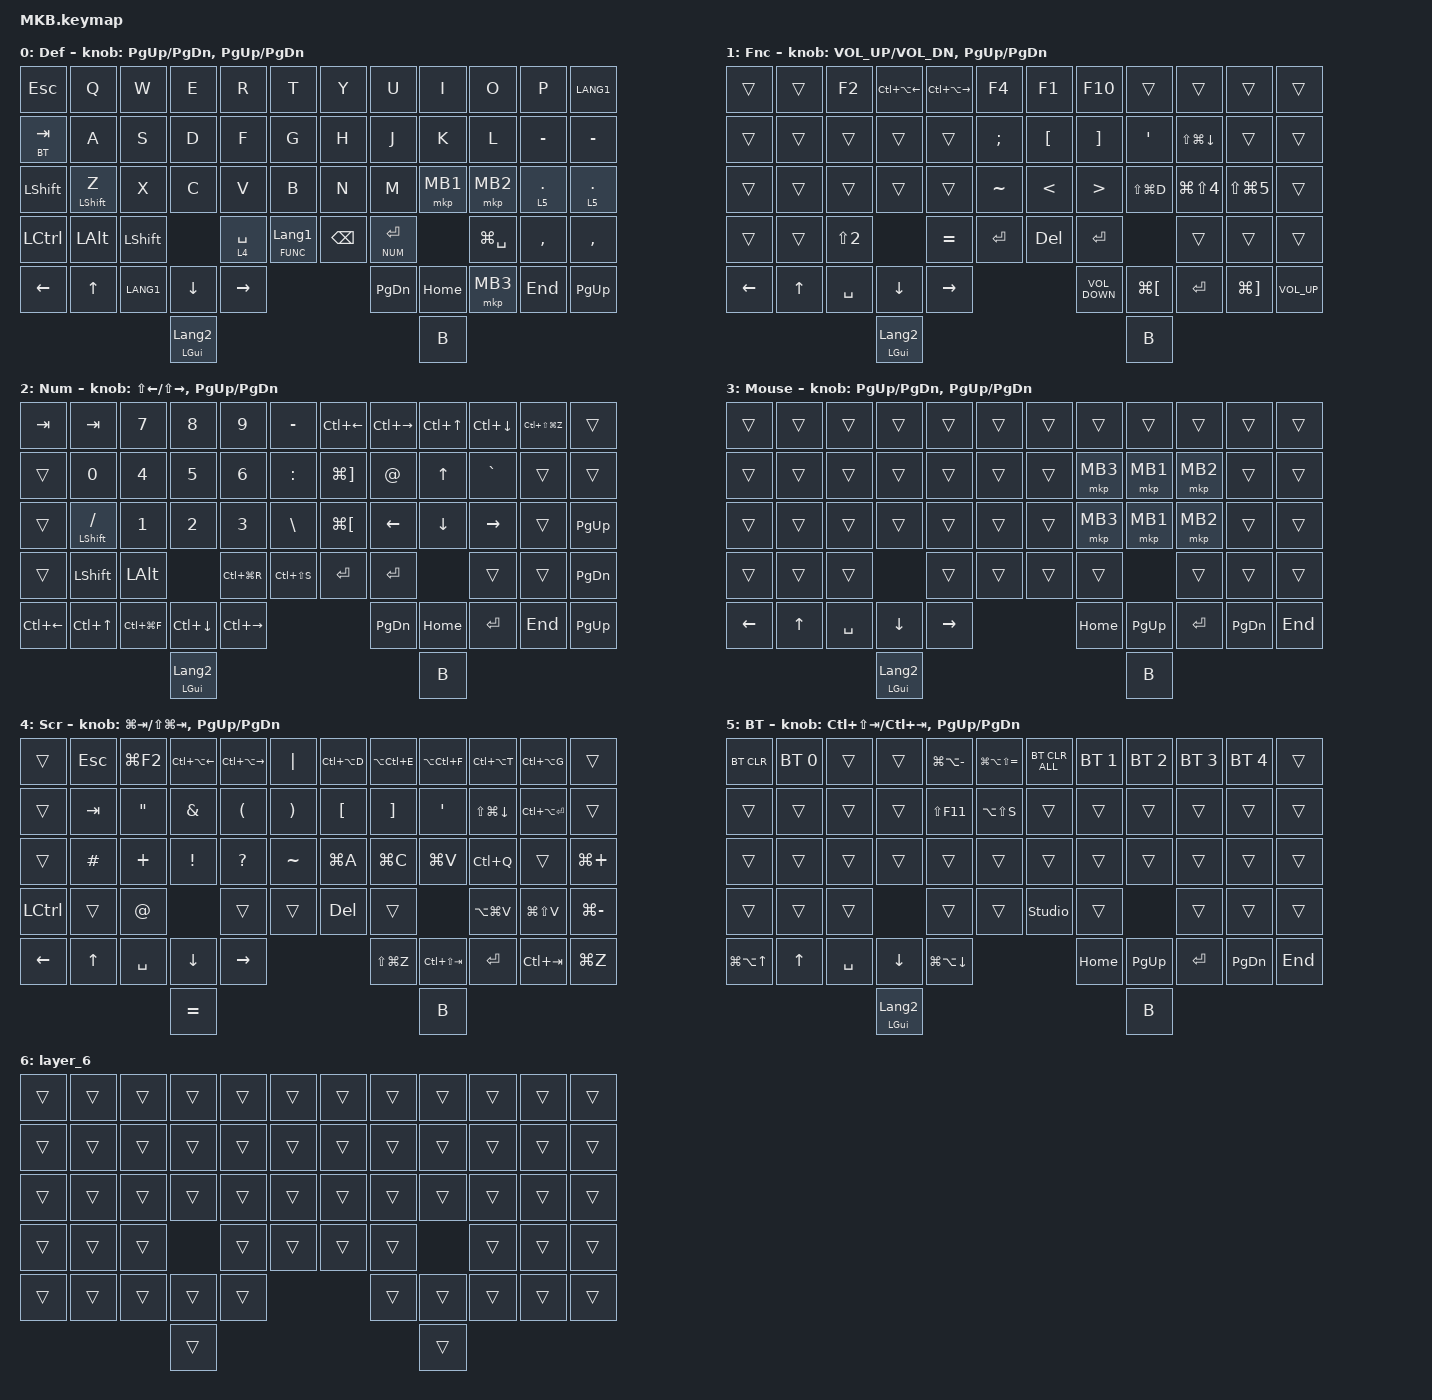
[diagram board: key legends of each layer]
// #include <layout_shift.dtsi>

#include <layout_shift_kp_override.dtsi>
#include <input/processors.dtsi>
#include <input/processors/runtime-input-processor.dtsi>
#include <behaviors/runtime-sensor-rotate.dtsi>
#include <behaviors/battery_history_request.dtsi>
#include <behaviors.dtsi>
#include <dt-bindings/zmk/bt.h>
#include <dt-bindings/zmk/keys.h>
#include <dt-bindings/zmk/pointing.h>

#define DEF 0
#define FUNC 1
#define NUM 2
#define MOUSE 3
#define SCROLL 4
#define BT 5

&mt {
    flavor = "balanced";
    quick-tap-ms = <0>;
};

/ {
    combos {
        compatible = "zmk,combos";

        cmd+t {
            bindings = <&kp LG(T)>;
            key-positions = <5 4>;
        };

        cmd+n {
            bindings = <&kp LG(N)>;
            key-positions = <30 31>;
        };

        cmd+option+u {
            bindings = <&kp LA(LG(U))>;
            key-positions = <6 7>;
        };

        cmd+shift+v {
            bindings = <&kp LG(LS(V))>;
            key-positions = <29 28>;
        };

        cmd+w {
            bindings = <&kp LG(W)>;
            key-positions = <1 2>;
        };

        cmd+g {
            bindings = <&kp LG(F)>;
            key-positions = <17 16>;
        };
    };

    behaviors {
        z_shft: zmk,behavior-hold-tap {
            compatible = "zmk,behavior-hold-tap";
            #binding-cells = <2>;
            flavor = "tap-preferred";
            tapping-term-ms = <250>;
            bindings = <&kp>, <&kp>;
        };
    };

    keymap {
        compatible = "zmk,keymap";

        default_layer {
            label = "Def";
            bindings = <
&kp ESCAPE  &kp Q             &kp W      &kp E                &kp R        &kp T                    &kp Y          &kp U          &kp I     &kp O          &kp P         &kp LANG1
&lt BT TAB  &kp A             &kp S      &kp D                &kp F        &kp G                    &kp H          &kp J          &kp K     &kp L          &kp MINUS     &kp MINUS
&kp LSHFT   &z_shft LSHIFT Z  &kp X      &kp C                &kp V        &kp B                    &kp N          &kp M          &mkp MB1  &mkp MB2       &lt 5 PERIOD  &lt 5 PERIOD
&kp LCTRL   &kp LALT          &kp LSHFT                       &lt 4 SPACE  &lt FUNC LANGUAGE_1      &kp BACKSPACE  &lt NUM ENTER            &kp LG(SPACE)  &kp COMMA     &kp COMMA
&kp LEFT    &kp UP            &kp LANG1  &kp DOWN             &kp RIGHT                                            &kp PAGE_DOWN  &kp HOME  &mkp MB3       &kp END       &kp PG_UP
                                         &mt LGUI LANGUAGE_2                                                                      &kp B
            >;

            sensor-bindings =
                <&inc_dec_kp PAGE_UP PAGE_DOWN>,
                <&inc_dec_kp PG_UP PG_DN>;
        };

        function_layer {
            label = "Fnc";
            bindings = <
&trans    &trans  &kp F2            &kp LC(LA(LEFT))     &kp LC(LA(RIGHT))  &kp F4             &kp F1            &kp F10            &trans                &trans                &trans                 &trans
&trans    &trans  &trans            &trans               &trans             &kp SEMICOLON      &kp LEFT_BRACKET  &kp RIGHT_BRACKET  &kp SQT               &kp LS(LG(DOWN))      &trans                 &trans
&trans    &trans  &trans            &trans               &trans             &kp TILDE          &kp LESS_THAN     &kp GREATER_THAN   &kp LS(LG(D))         &kp LG(LS(NUMBER_4))  &kp LS(LG(NUMBER_5))   &trans
&trans    &trans  &kp LS(NUMBER_2)                       &kp EQUAL          &kp ENTER          &kp DELETE        &kp ENTER                                &trans                &trans                 &trans
&kp LEFT  &kp UP  &kp SPACE         &kp DOWN             &kp RIGHT                                               &kp C_VOLUME_DOWN  &kp LG(LEFT_BRACKET)  &kp ENTER             &kp LG(RIGHT_BRACKET)  &kp C_VOLUME_UP
                                    &mt LGUI LANGUAGE_2                                                                             &kp B
            >;

            sensor-bindings = <&inc_dec_kp C_VOL_UP C_VOL_DN &inc_dec_kp PG_UP PG_DN>;
        };

        num_layer {
            label = "Num";
            bindings = <
&kp TAB       &kp TAB               &kp N7         &kp N8               &kp N9         &kp MINUS          &kp LC(LEFT)           &kp LC(RIGHT)  &kp LC(UP_ARROW)  &kp LC(DOWN)  &kp LC(LS(LG(Z)))  &trans
&trans        &kp NUMBER_0          &kp NUMBER_4   &kp N5               &kp NUMBER_6   &kp COLON          &kp LG(RIGHT_BRACKET)  &kp AT_SIGN    &kp UP_ARROW      &kp GRAVE     &trans             &trans
&trans        &mt LEFT_SHIFT SLASH  &kp NUMBER_1   &kp NUMBER_2         &kp NUMBER_3   &kp BACKSLASH      &kp LG(LEFT_BRACKET)   &kp LEFT       &kp DOWN          &kp RIGHT     &trans             &kp PAGE_UP
&trans        &kp LEFT_SHIFT        &kp LEFT_ALT                        &kp LC(LG(R))  &kp LC(LS(S))      &kp ENTER              &kp ENTER                        &trans        &trans             &kp PAGE_DOWN
&kp LC(LEFT)  &kp LC(UP)            &kp LC(LG(F))  &kp LC(DOWN)         &kp LC(RIGHT)                                            &kp PAGE_DOWN  &kp HOME          &kp ENTER     &kp END            &kp PAGE_UP
                                                   &mt LGUI LANGUAGE_2                                                                          &kp B
            >;

            sensor-bindings =
                <&inc_dec_kp LS(LEFT) LS(RIGHT)>,
                <&inc_dec_kp PG_UP PG_DN>;
        };

        mouse_layer {
            label = "Mouse";
            bindings = <
&trans    &trans  &trans     &trans               &trans     &trans      &trans  &trans    &trans     &trans     &trans     &trans
&trans    &trans  &trans     &trans               &trans     &trans      &trans  &mkp MB3  &mkp MB1   &mkp MB2   &trans     &trans
&trans    &trans  &trans     &trans               &trans     &trans      &trans  &mkp MB3  &mkp MB1   &mkp MB2   &trans     &trans
&trans    &trans  &trans                          &trans     &trans      &trans  &trans               &trans     &trans     &trans
&kp LEFT  &kp UP  &kp SPACE  &kp DOWN             &kp RIGHT                      &kp HOME  &kp PG_UP  &kp ENTER  &kp PG_DN  &kp END
                             &mt LGUI LANGUAGE_2                                           &kp B
            >;

            sensor-bindings =
                <&inc_dec_kp PAGE_UP PAGE_DOWN>,
                <&inc_dec_kp PG_UP PG_DN>;
        };

        scroll_layer {
            label = "Scr";
            bindings = <
&trans     &kp ESCAPE  &kp LG(F2)         &kp LC(LA(LEFT))  &kp LC(LA(RIGHT))     &kp PIPE                   &kp LC(LA(D))     &kp LA(LC(E))      &kp LA(LC(F))    &kp LC(LA(T))     &kp LC(LA(G))      &trans
&trans     &kp TAB     &kp DOUBLE_QUOTES  &kp AMPERSAND     &kp LEFT_PARENTHESIS  &kp RIGHT_PARENTHESIS      &kp LEFT_BRACKET  &kp RIGHT_BRACKET  &kp SQT          &kp LS(LG(DOWN))  &kp LC(LA(ENTER))  &trans
&trans     &kp HASH    &kp PLUS           &kp EXCLAMATION   &kp QUESTION          &kp TILDE                  &kp LG(A)         &kp LG(C)          &kp LG(V)        &kp LC(Q)         &trans             &kp LG(PLUS)
&kp LCTRL  &trans      &kp AT_SIGN                          &trans                &trans                     &kp DELETE        &trans                              &kp LA(LG(V))     &kp LG(LS(V))      &kp LG(MINUS)
&kp LEFT   &kp UP      &kp SPACE          &kp DOWN          &kp RIGHT                                                          &kp LS(LG(Z))      &kp LC(LS(TAB))  &kp ENTER         &kp LC(TAB)        &kp LG(Z)
                                          &kp EQUAL                                                                                               &kp B
            >;

            sensor-bindings =
                <&inc_dec_kp LG(TAB) LS(LG(TAB))>,
                <&inc_dec_kp PG_UP PG_DN>;
        };

        bt_layer {
            label = "BT";
            bindings = <
&bt BT_CLR            &bt BT_SEL 0  &trans     &trans               &kp LG(LA(MINUS))  &kp LG(LA(LS(EQUAL)))      &bt BT_CLR_ALL  &bt BT_SEL 1  &bt BT_SEL 2  &bt BT_SEL 3  &bt BT_SEL 4  &trans
&trans                &trans        &trans     &trans               &kp LS(F11)        &kp LA(LS(S))              &trans          &trans        &trans        &trans        &trans        &trans
&trans                &trans        &trans     &trans               &trans             &trans                     &trans          &trans        &trans        &trans        &trans        &trans
&trans                &trans        &trans                          &trans             &trans                     &studio_unlock  &trans                      &trans        &trans        &trans
&kp LG(LA(UP_ARROW))  &kp UP        &kp SPACE  &kp DOWN             &kp LG(LA(DOWN))                                              &kp HOME      &kp PG_UP     &kp ENTER     &kp PG_DN     &kp END
                                               &mt LGUI LANGUAGE_2                                                                              &kp B
            >;

            sensor-bindings =
                <&inc_dec_kp LC(LS(TAB)) LC(TAB)>,
                <&inc_dec_kp PG_UP PG_DN>;
        };

        layer_6 {
            bindings = <
&trans  &trans  &trans  &trans  &trans  &trans      &trans  &trans  &trans  &trans  &trans  &trans
&trans  &trans  &trans  &trans  &trans  &trans      &trans  &trans  &trans  &trans  &trans  &trans
&trans  &trans  &trans  &trans  &trans  &trans      &trans  &trans  &trans  &trans  &trans  &trans
&trans  &trans  &trans          &trans  &trans      &trans  &trans          &trans  &trans  &trans
&trans  &trans  &trans  &trans  &trans                      &trans  &trans  &trans  &trans  &trans
                        &trans                                      &trans
            >;
        };
    };
};
